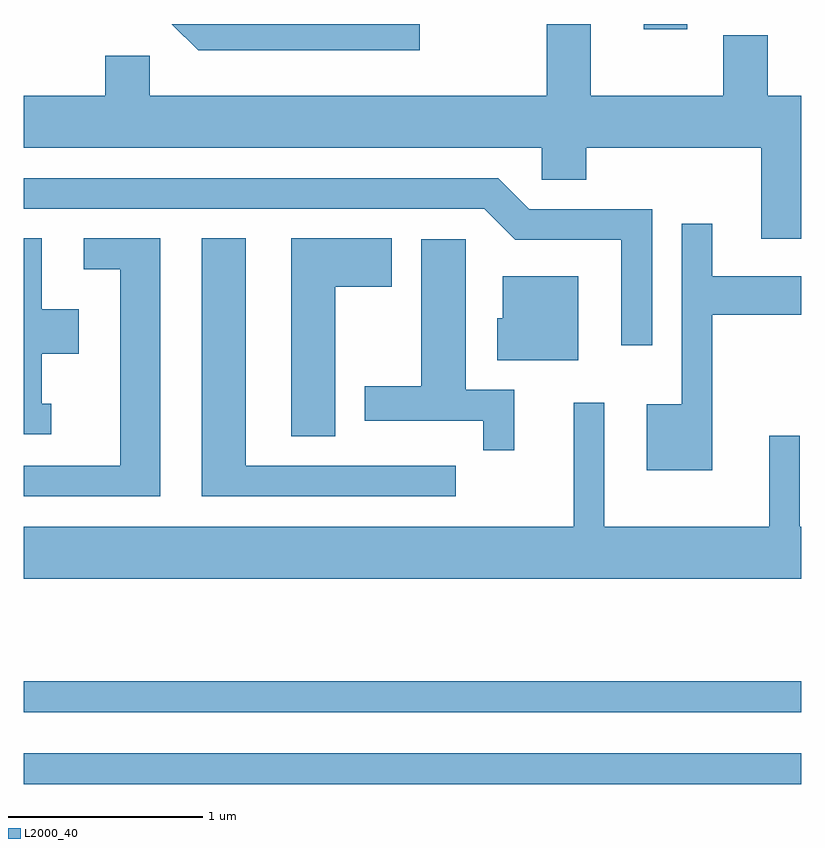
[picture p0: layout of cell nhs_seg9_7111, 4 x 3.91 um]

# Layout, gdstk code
import gdstk
lib = gdstk.Library(unit=1e-6, precision=1e-09)
def R(c, l, rs):  # rectangles x0, y0, x1, y1
    for r in rs: c.add(gdstk.rectangle(r[:2], r[2:], *l))
def P(c, l, *ps):  # polygons
    for p in ps: c.add(gdstk.Polygon(p, *l))
L2000_40 = (2000, 40)

nhs_seg9_7111 = lib.new_cell('nhs_seg9_7111')
R(nhs_seg9_7111, L2000_40, [(395.611,2008.521,399.611,2008.679), (395.611,2008.891,399.611,2009.049), (398.801,2012.406,399.024,2012.432)])
P(nhs_seg9_7111, L2000_40, [(399.611,2012.064),(399.439,2012.064),(399.439,2012.374),(399.211,2012.374),(399.211,2012.064),(398.529,2012.064),(398.529,2012.432),(398.301,2012.432),(398.301,2012.064),(396.259,2012.064),(396.259,2012.269),(396.031,2012.269),(396.031,2012.064),(395.611,2012.064),(395.611,2011.796),(398.276,2011.796),(398.276,2011.631),(398.504,2011.631),(398.504,2011.796),(399.406,2011.796),(399.406,2011.326),(399.611,2011.326)],
  [(397.648,2012.432),(396.373,2012.432),(396.509,2012.296),(397.648,2012.296)],
  [(398.844,2011.479),(398.212,2011.479),(398.052,2011.639),(395.611,2011.639),(395.611,2011.481),(397.979,2011.481),(398.139,2011.321),(398.686,2011.321),(398.686,2010.778),(398.844,2010.778)],
  [(399.154,2010.936),(399.611,2010.936),(399.611,2011.134),(399.154,2011.134),(399.154,2011.403),(398.996,2011.403),(398.996,2010.474),(398.816,2010.474),(398.816,2010.136),(399.154,2010.136)],
  [(397.833,2010.159),(396.754,2010.159),(396.754,2011.329),(396.526,2011.329),(396.526,2010.001),(397.833,2010.001)],
  [(397.214,2011.081),(397.504,2011.081),(397.504,2011.329),(396.986,2011.329),(396.986,2010.311),(397.214,2010.311)],
  [(395.753,2010.479),(395.704,2010.479),(395.704,2010.736),(395.894,2010.736),(395.894,2010.964),(395.704,2010.964),(395.704,2011.329),(395.611,2011.329),(395.611,2010.321),(395.753,2010.321)],
  [(396.314,2011.329),(395.918,2011.329),(395.918,2011.171),(396.106,2011.171),(396.106,2010.159),(395.611,2010.159),(395.611,2010.001),(396.314,2010.001)],
  [(398.134,2010.549),(397.884,2010.549),(397.884,2011.324),(397.656,2011.324),(397.656,2010.569),(397.366,2010.569),(397.366,2010.391),(397.976,2010.391),(397.976,2010.238),(398.134,2010.238)],
  [(398.464,2011.134),(398.076,2011.134),(398.076,2010.919),(398.046,2010.919),(398.046,2010.701),(398.464,2010.701)],
  [(399.611,2009.844),(399.604,2009.844),(399.604,2010.313),(399.446,2010.313),(399.446,2009.844),(398.599,2009.844),(398.599,2010.483),(398.441,2010.483),(398.441,2009.844),(395.611,2009.844),(395.611,2009.576),(399.611,2009.576)])

lib.write_gds('nhs_seg9_7111.gds')
